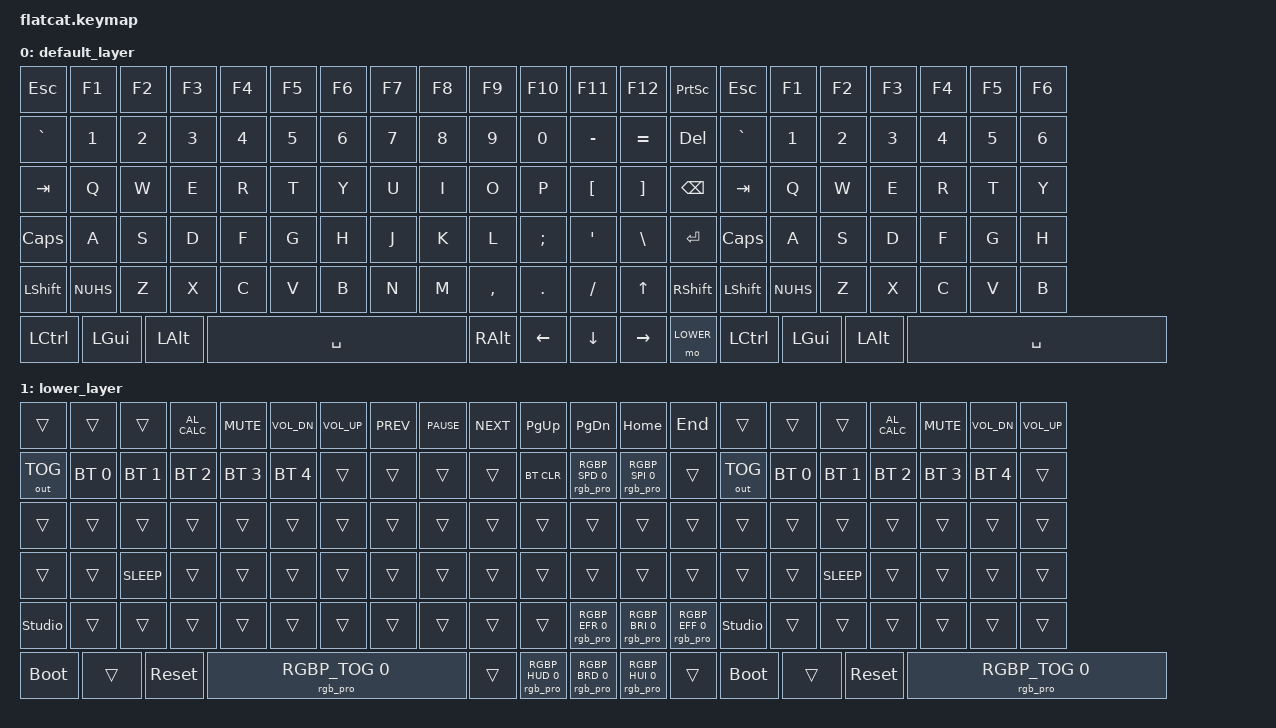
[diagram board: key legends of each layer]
#include <behaviors.dtsi>
#include <dt-bindings/zmk/keys.h>
#include <dt-bindings/zmk/bt.h>
#include <dt-bindings/zmk/outputs.h>
#include <dt-bindings/zmk/ext_power.h>

/* zmk-pro-rgb behavior commands */
#define RGBP_TOG 0
#define RGBP_ON  1
#define RGBP_OFF 2
#define RGBP_EFF 3
#define RGBP_EFR 4
#define RGBP_HUI 5
#define RGBP_HUD 6
#define RGBP_BRI 7
#define RGBP_BRD 8
#define RGBP_SPI 9
#define RGBP_SPD 10

#define DEFAULT 0
#define LOWER   1

/ {
    keymap {
        compatible = "zmk,keymap";

        default_layer {
            bindings = <
    /* ---- left half: full 79 keys ---- */
    &kp ESC              &kp F1               &kp F2               &kp F3               &kp F4               &kp F5               &kp F6               &kp F7               &kp F8               &kp F9               &kp F10              &kp F11              &kp F12              &kp PSCRN
    &kp GRAVE            &kp N1               &kp N2               &kp N3               &kp N4               &kp N5               &kp N6               &kp N7               &kp N8               &kp N9               &kp N0               &kp MINUS            &kp EQUAL            &kp DEL
    &kp TAB              &kp Q                &kp W                &kp E                &kp R                &kp T                &kp Y                &kp U                &kp I                &kp O                &kp P                &kp LBKT             &kp RBKT             &kp BKSP
    &kp CLCK             &kp A                &kp S                &kp D                &kp F                &kp G                &kp H                &kp J                &kp K                &kp L                &kp SEMI             &kp SQT              &kp BSLH             &kp ENTER
    &kp LSHFT            &kp NUHS             &kp Z                &kp X                &kp C                &kp V                &kp B                &kp N                &kp M                &kp COMMA            &kp DOT              &kp FSLH             &kp UP               &kp RSHFT
    &kp LCTRL            &kp LGUI             &kp LALT             &kp SPACE            &kp RALT             &kp LEFT             &kp DOWN             &kp RIGHT            &mo LOWER
    /* ---- right half: same layout, first 7 columns only (39 keys) ---- */
    &kp ESC              &kp F1               &kp F2               &kp F3               &kp F4               &kp F5               &kp F6
    &kp GRAVE            &kp N1               &kp N2               &kp N3               &kp N4               &kp N5               &kp N6
    &kp TAB              &kp Q                &kp W                &kp E                &kp R                &kp T                &kp Y
    &kp CLCK             &kp A                &kp S                &kp D                &kp F                &kp G                &kp H
    &kp LSHFT            &kp NUHS             &kp Z                &kp X                &kp C                &kp V                &kp B
    &kp LCTRL            &kp LGUI             &kp LALT             &kp SPACE
            >;
        };

        lower_layer {
            bindings = <
    /* ---- left half ---- */
    &trans               &trans               &trans               &kp C_AL_CALC        &kp C_MUTE           &kp C_VOL_DN         &kp C_VOL_UP         &kp C_PREV           &kp C_PAUSE          &kp C_NEXT           &kp PG_UP            &kp PG_DN            &kp HOME             &kp END
    &out OUT_TOG         &bt BT_SEL 0         &bt BT_SEL 1         &bt BT_SEL 2         &bt BT_SEL 3         &bt BT_SEL 4         &trans               &trans               &trans               &trans               &bt BT_CLR           &rgb_pro RGBP_SPD 0  &rgb_pro RGBP_SPI 0  &trans
    &trans               &trans               &trans               &trans               &trans               &trans               &trans               &trans               &trans               &trans               &trans               &trans               &trans               &trans
    &trans               &trans               &kp K_SLEEP          &trans               &trans               &trans               &trans               &trans               &trans               &trans               &trans               &trans               &trans               &trans
    &studio_unlock       &trans               &trans               &trans               &trans               &trans               &trans               &trans               &trans               &trans               &trans               &rgb_pro RGBP_EFR 0  &rgb_pro RGBP_BRI 0  &rgb_pro RGBP_EFF 0
    &bootloader          &trans               &sys_reset           &rgb_pro RGBP_TOG 0  &trans               &rgb_pro RGBP_HUD 0  &rgb_pro RGBP_BRD 0  &rgb_pro RGBP_HUI 0  &trans
    /* ---- right half ---- */
    &trans               &trans               &trans               &kp C_AL_CALC        &kp C_MUTE           &kp C_VOL_DN         &kp C_VOL_UP
    &out OUT_TOG         &bt BT_SEL 0         &bt BT_SEL 1         &bt BT_SEL 2         &bt BT_SEL 3         &bt BT_SEL 4         &trans
    &trans               &trans               &trans               &trans               &trans               &trans               &trans
    &trans               &trans               &kp K_SLEEP          &trans               &trans               &trans               &trans
    &studio_unlock       &trans               &trans               &trans               &trans               &trans               &trans
    &bootloader          &trans               &sys_reset           &rgb_pro RGBP_TOG 0
            >;
        };
    };
};
